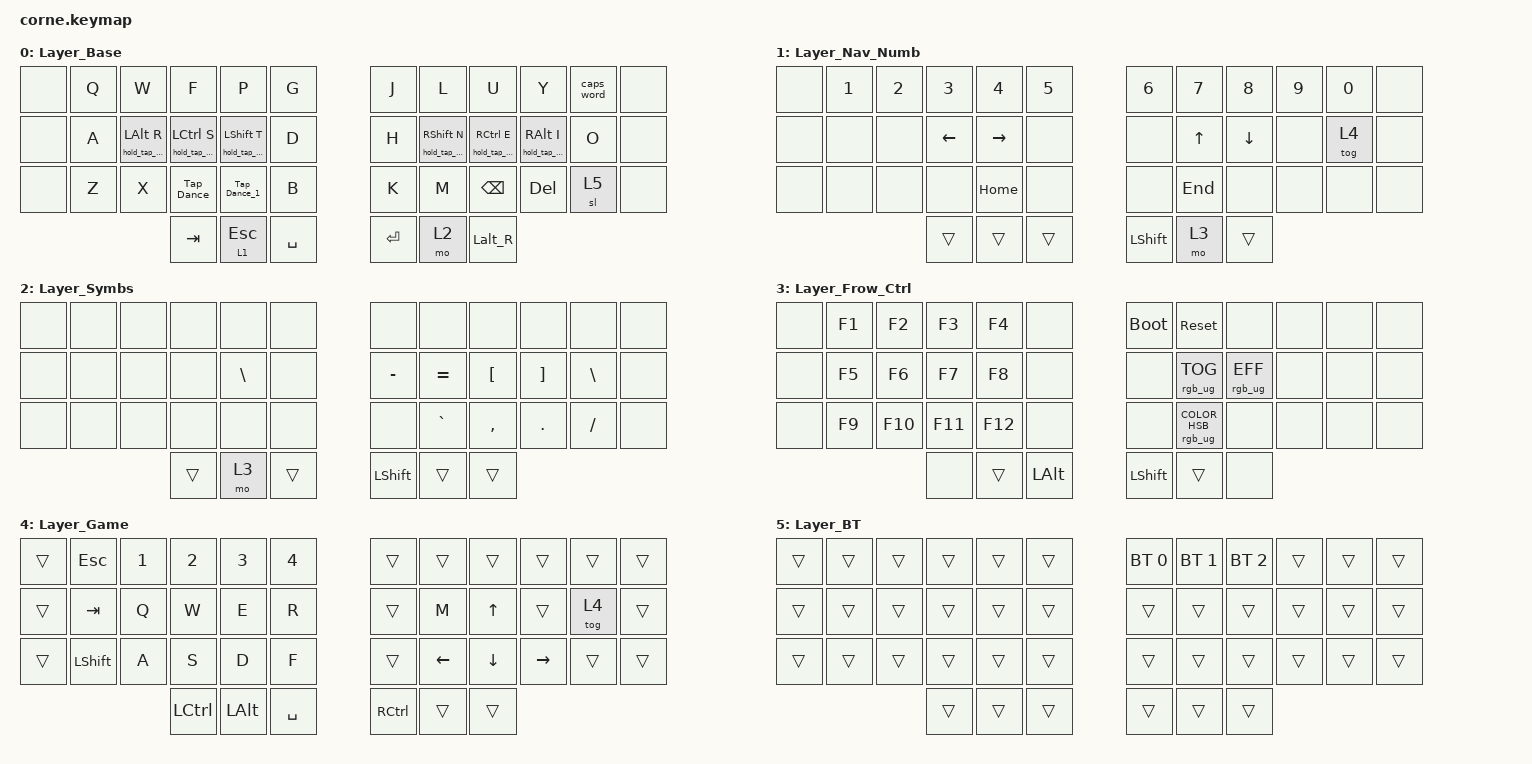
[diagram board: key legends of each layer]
/*
 * Copyright (c) 2020 The ZMK Contributors
 *
 * SPDX-License-Identifier: MIT
 */

#include <behaviors.dtsi>
#include <dt-bindings/zmk/bt.h>
#include <dt-bindings/zmk/keys.h>
#include <dt-bindings/zmk/rgb.h>

// LAYERS

#define DEFAULT 0
#define NUM     1
#define SYM     2
#define FUNC    3

// MACROS

#define SUPER LC(LSHIFT)
#define SUPER2 LA(LC(LSHIFT))

&mt {
    tapping-term-ms = <180>;
    flavor = "tap-preferred";
};

/ {
    behaviors {
        // New hold-tap behavior with early tap enabled for snappy tap input
        hold_tap_early: hold_tap_early {
            compatible = "zmk,behavior-hold-tap";
            label = "HOLD_TAP_EARLY";
            #binding-cells = <2>;
            tapping-term-ms = <180>;
            flavor = "tap-preferred";
            early_tap = <true>;
        };

        Tap_Dance: tap_dance_0 {
            compatible = "zmk,behavior-tap-dance";
            label = "TAP_DANCE_0";
            #binding-cells = <0>;
            tapping-term-ms = <180>;
            bindings = <&kp C>, <&Ctrl_C>;
        };

        Tap_Dance_1: tap_dance_1 {
            compatible = "zmk,behavior-tap-dance";
            label = "TAP_DANCE_1";
            #binding-cells = <0>;
            tapping-term-ms = <180>;
            bindings = <&kp V>, <&Ctrl_V>;
        };
    };

    combos { compatible = "zmk,combos"; };

    macros {
        Ctrl_C: Ctrl_C {
            compatible = "zmk,behavior-macro";
            #binding-cells = <0>;
            bindings = <&kp RCTRL &kp C>;
            label = "CTRL_C";
        };

        Ctrl_V: Ctrl_V {
            compatible = "zmk,behavior-macro";
            #binding-cells = <0>;
            bindings = <&kp RCTRL &kp V>;
            label = "CTRL_V";
        };

        Lalt_R: Lalt_R {
            compatible = "zmk,behavior-macro";
            #binding-cells = <0>;
            bindings = <&kp LEFT_ALT &kp R>;
            label = "LALT_R";
        };
    };

    keymap {
        compatible = "zmk,keymap";

        Layer_Base {
            bindings = <
&none  &kp Q             &kp W             &kp F               &kp P             &kp G          &kp J          &kp L             &kp U          &kp Y         &caps_word  &none
&none  &kp A  &hold_tap_early LALT R  &hold_tap_early LCTRL S  &hold_tap_early LSHIFT T  &kp D          &kp H          &hold_tap_early RSHIFT N  &hold_tap_early RCTRL E  &hold_tap_early RALT I  &kp O         &none
&none  &kp Z             &kp X             &Tap_Dance           &Tap_Dance_1      &kp B          &kp K          &kp M             &kp BSPC       &kp DELETE    &sl 5       &none
                               &kp TAB          &lt 1 ESCAPE      &kp SPACE          &kp ENTER        &mo 2         &Lalt_R
            >;
        };

        Layer_Nav_Numb {
            bindings = <
&none  &kp N1  &kp N2  &kp N3    &kp N4     &kp N5    &kp N6          &kp N7        &kp N8          &kp N9  &kp N0  &none
&none  &none   &none   &kp LEFT  &kp RIGHT  &none     &none           &kp UP_ARROW  &kp DOWN_ARROW  &none   &tog 4  &none
&none  &none   &none   &none     &kp HOME   &none     &none           &kp END       &none           &none   &none   &none
                       &trans    &trans     &trans    &kp LEFT_SHIFT  &mo 3         &trans
            >;
        };

        Layer_Symbs {
            bindings = <
&none  &none  &none  &none   &none          &none     &none           &none      &none      &none     &none      &none
&none  &none  &none  &none   &kp BACKSLASH  &none     &kp MINUS       &kp EQUAL  &kp LBKT   &kp RBKT  &kp BSLH   &none
&none  &none  &none  &none   &none          &none     &none           &kp GRAVE  &kp COMMA  &kp DOT   &kp SLASH  &none
                     &trans  &mo 3          &trans    &kp LEFT_SHIFT  &trans     &trans
            >;
        };

        Layer_Frow_Ctrl {
            bindings = <
&none  &kp F1  &kp F2   &kp F3   &kp F4   &none           &bootloader     &sys_reset                       &none            &none  &none  &none
&none  &kp F5  &kp F6   &kp F7   &kp F8   &none           &none           &rgb_ug RGB_TOG                  &rgb_ug RGB_EFF  &none  &none  &none
&none  &kp F9  &kp F10  &kp F11  &kp F12  &none           &none           &rgb_ug RGB_COLOR_HSB(25,94,46)  &none            &none  &none  &none
                        &none    &trans   &kp LEFT_ALT    &kp LEFT_SHIFT  &trans                           &none
            >;
        };

        Layer_Game {
            bindings = <
&trans  &kp ESC    &kp N1  &kp N2     &kp N3    &kp N4       &trans     &trans    &trans        &trans     &trans  &trans
&trans  &kp TAB    &kp Q   &kp W      &kp E     &kp R        &trans     &kp M     &kp UP_ARROW  &trans     &tog 4  &trans
&trans  &kp LSHFT  &kp A   &kp S      &kp D     &kp F        &trans     &kp LEFT  &kp DOWN      &kp RIGHT  &trans  &trans
                           &kp LCTRL  &kp LALT  &kp SPACE    &kp RCTRL  &trans    &trans
            >;
        };

        Layer_BT {
            bindings = <
&trans  &trans  &trans  &trans  &trans  &trans    &bt BT_SEL 0  &bt BT_SEL 1  &bt BT_SEL 2  &trans  &trans  &trans
&trans  &trans  &trans  &trans  &trans  &trans    &trans        &trans        &trans        &trans  &trans  &trans
&trans  &trans  &trans  &trans  &trans  &trans    &trans        &trans        &trans        &trans  &trans  &trans
                        &trans  &trans  &trans    &trans        &trans        &trans
            >;
        };
    };
};
